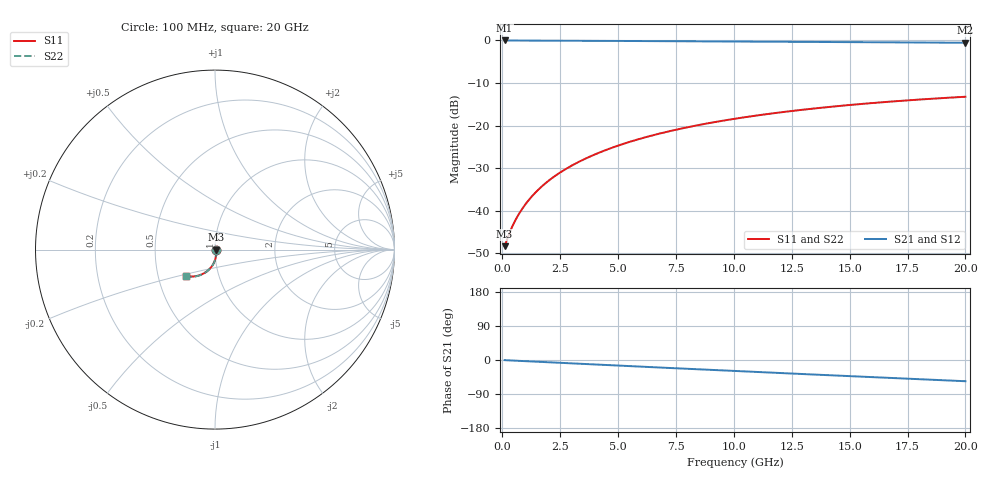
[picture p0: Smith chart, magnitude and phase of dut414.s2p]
! Touchstone file exported from HFSS 2026.1.0
!  File:  C:/ffzhzh/LocalFiles/Ansys_Project_Files/temp_train_TMRDL_414_1783005134_51716.aedt
!  Generated:  11:13:52 PM Jul  2, 2026
!  Design:  TMRDL
!  Project:  temp_train_TMRDL_414_1783005134_51716
! Variables:
!  h_bsmrdl = 2um
!  h_ox = 20um
!  h_rdl = 5um
!  h_sub = 80um
!  h_tmrdl = 4.61um
!  h_tsv = 80um
!  h_via = 3um
!  l_bsmrdl = 300um
!  l_sub = 1386.46um
!  l_tmrdl = 986.46um
!  m_sub = 200um
!  pitch = 24.39um
!  r_tsv = 6um
!  s_tmrdl = 10um
!  w_bsmrdl = 18um
!  w_sub = 500um
!  w_tmrdl = 21.91um
!  x_tsv_center1 = 997.415um
!  x_tsv_center2 = 1315.415um
!  x_tsv_center3 = 2323.785um
!  x_tsv_center4 = 2641.785um
!  x_tsv_center5 = 3650.155um
!  x_tsv_center6 = 3968.155um
# GHz S MA R 50.000000
! Terminal data exported
! Port[1] = TM_RDL1_1_T1
! Port[2] = TM_RDL1_1_T2
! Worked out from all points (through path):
!   200 points, 100 MHz to 20 GHz, reference 50 ohm
!   highest |S21| = -0.03 dB at 100 MHz (marker M1); lowest = -0.6 dB at 20 GHz (marker M2)
!   group delay of S21, straight-line fit = 7.75 ps
!   lowest |S11| = -48.3 dB at 100 MHz (marker M3), VSWR 1.01, Z = 50.4 - j0.00302 ohm
!   |S11| at or under -10 dB: start of sweep to end of sweep
!   |S22| runs from -48.3 to -13.2 dB; largest |S21 - S12| = 7.2e-15
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0.1  0.003852 -0.4  0.9961 -0.4  0.9961 -0.4  0.003852 -0.4
! Gamma 0 0 0 0
! Port Impedance 50 0 50 0
0.3  0.00541 -14.3  0.9947 -1.0  0.9947 -1.0  0.00541 -14.3
0.4  0.00628 -22.9  0.9942 -1.3  0.9942 -1.3  0.006281 -22.9
0.6  0.008078 -37.1  0.9934 -1.9  0.9934 -1.9  0.00808 -37.1
0.7  0.009012 -42.7  0.9931 -2.2  0.9931 -2.2  0.009015 -42.7
0.9  0.01095 -51.3  0.9927 -2.8  0.9927 -2.8  0.01095 -51.3
1.1  0.01295 -57.6  0.9924 -3.4  0.9924 -3.4  0.01296 -57.6
1.3  0.01501 -62.4  0.9921 -4.0  0.9921 -4.0  0.01502 -62.3
1.7  0.01927 -69.1  0.9914 -5.1  0.9914 -5.1  0.01928 -69.0
2.2  0.02479 -74.6  0.9904 -6.6  0.9904 -6.6  0.0248 -74.5
2.8  0.03163 -79.2  0.9891 -8.4  0.9891 -8.4  0.03165 -79.1
3.5  0.03988 -83.2  0.9873 -10.4  0.9873 -10.4  0.03991 -83.1
4.2  0.04835 -86.5  0.9854 -12.4  0.9854 -12.4  0.04838 -86.4
5  0.05821 -89.9  0.9832 -14.7  0.9832 -14.7  0.05825 -89.8
5.9  0.06943 -93.4  0.9806 -17.3  0.9806 -17.3  0.06949 -93.3
6.8  0.08068 -96.8  0.978 -19.9  0.978 -19.9  0.08075 -96.6
8.4  0.1005 -102.4  0.9732 -24.4  0.9732 -24.4  0.1006 -102.2
10.1  0.1209 -108.1  0.968 -29.1  0.968 -29.1  0.1211 -107.9
11.7  0.1394 -113.3  0.963 -33.5  0.963 -33.5  0.1395 -113.0
13.4  0.1579 -118.5  0.9576 -38.2  0.9576 -38.2  0.1581 -118.2
16.7  0.1905 -128.3  0.9468 -47.2  0.9468 -47.2  0.1907 -128.0
20  0.2178 -137.7  0.936 -56.0  0.936 -56.0  0.2181 -137.3
